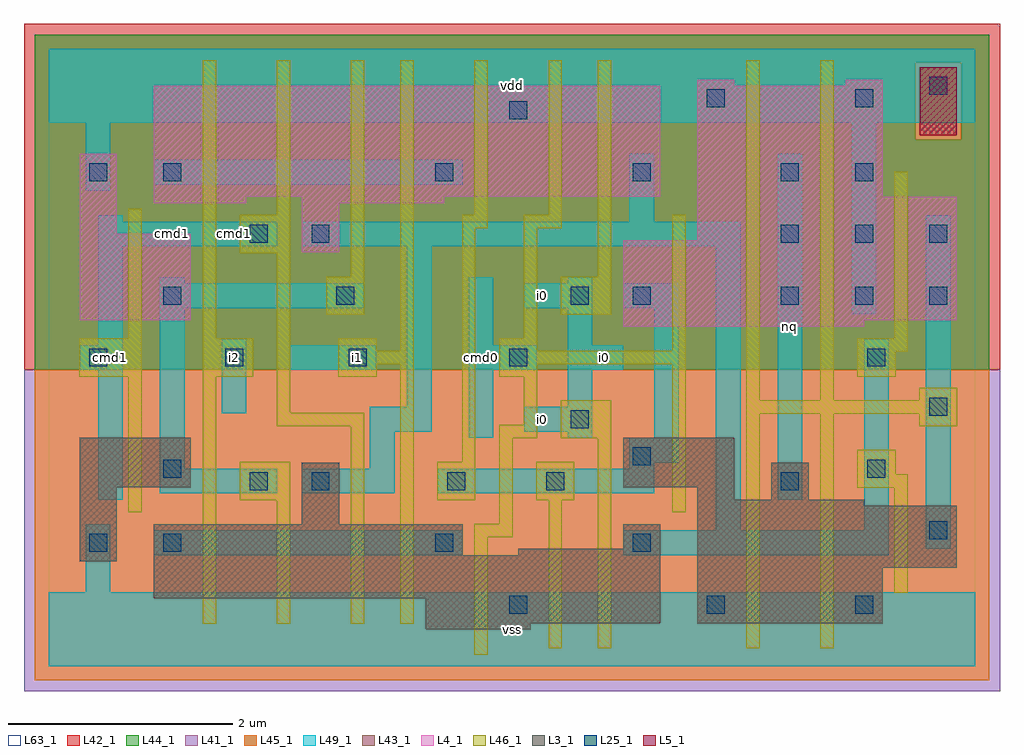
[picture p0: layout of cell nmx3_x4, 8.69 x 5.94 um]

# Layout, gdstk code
import gdstk
lib = gdstk.Library(unit=1e-6, precision=1e-09)
def R(c, l, rs):  # rectangles x0, y0, x1, y1
    for r in rs: c.add(gdstk.rectangle(r[:2], r[2:], *l))
def A(c, l, x, y, w, h, nx, ny, dx, dy):  # array of equal rectangles
    R(c, l, [(x+i*dx, y+j*dy, x+i*dx+w, y+j*dy+h) for i in range(nx) for j in range(ny)])
L3_1 = (3, 1)
L4_1 = (4, 1)
L5_1 = (5, 1)
L25_1 = (25, 1)
L41_1 = (41, 1)
L42_1 = (42, 1)
L43_1 = (43, 1)
L44_1 = (44, 1)
L45_1 = (45, 1)
L46_1 = (46, 1)
L49_1 = (49, 1)
L63_1 = (63, 1)

nmx3_x4 = lib.new_cell('nmx3_x4')
R(nmx3_x4, L3_1, [(3.355,0.33,4.29,0.385), (3.355,0.385,5.445,0.605), (5.775,0.385,7.425,0.88), (0.935,0.605,5.445,0.99), (5.775,0.88,8.085,1.43), (0.275,0.935,0.605,1.595), (0.935,0.99,3.685,1.265), (4.18,0.99,5.445,1.045), (5.115,1.045,5.445,1.265), (2.255,1.265,2.585,1.815), (5.775,1.43,7.26,1.485), (5.775,1.485,6.105,1.595), (6.435,1.485,6.765,1.815), (0.275,1.595,1.265,2.035), (5.115,1.595,6.105,2.035)])
R(nmx3_x4, L4_1, [(5.115,3.025,7.26,3.08), (0.275,3.08,1.265,3.85), (5.115,3.08,8.085,3.795), (2.255,3.685,2.585,4.125), (5.775,3.795,8.085,4.18), (0.275,3.85,0.605,4.565), (0.935,4.125,1.76,4.18), (2.255,4.125,3.52,4.18), (0.935,4.18,5.445,5.17), (5.775,4.18,7.425,5.17), (5.775,5.17,6.105,5.225), (7.095,5.17,7.425,5.225)])
R(nmx3_x4, L5_1, [(7.755,4.73,8.085,5.335)])
A(nmx3_x4, L25_1, 4.1, 0.47, 0.16, 0.16, 1, 3, 0, 2.2)
A(nmx3_x4, L25_1, 0.36, 1.02, 0.16, 0.16, 1, 3, 0, 1.65)
A(nmx3_x4, L25_1, 6.52, 3.22, 0.16, 0.16, 3, 2, 0.66, 0.55)
R(nmx3_x4, L25_1, [(5.86,0.47,6.02,0.63), (7.18,0.47,7.34,0.63), (1.02,1.02,1.18,1.18), (3.44,1.02,3.6,1.18), (5.2,1.02,5.36,1.18), (7.84,1.13,8,1.29), (1.79,1.57,1.95,1.73), (2.34,1.57,2.5,1.73), (3.55,1.57,3.71,1.73), (4.43,1.57,4.59,1.73), (6.52,1.57,6.68,1.73), (1.02,1.68,1.18,1.84), (7.29,1.68,7.45,1.84), (5.2,1.79,5.36,1.95), (4.65,2.12,4.81,2.28), (7.84,2.23,8,2.39), (1.57,2.67,1.73,2.83), (2.67,2.67,2.83,2.83), (7.29,2.67,7.45,2.83), (1.02,3.22,1.18,3.38), (2.56,3.22,2.72,3.38), (4.65,3.22,4.81,3.38), (5.2,3.22,5.36,3.38), (1.79,3.77,1.95,3.93), (2.34,3.77,2.5,3.93), (1.02,4.32,1.18,4.48), (3.44,4.32,3.6,4.48), (5.2,4.32,5.36,4.48), (6.52,4.32,6.68,4.48), (7.18,4.32,7.34,4.48), (5.86,4.98,6.02,5.14), (7.18,4.98,7.34,5.14), (7.84,5.09,8,5.25)])
R(nmx3_x4, L41_1, [(-0.22,-0.22,8.47,2.64)])
R(nmx3_x4, L42_1, [(-0.22,2.64,8.47,5.72)])
R(nmx3_x4, L43_1, [(3.355,0.33,4.29,0.385), (3.355,0.385,5.445,0.605), (5.775,0.385,7.425,0.88), (0.935,0.605,5.445,0.99), (5.775,0.88,8.085,1.43), (0.275,0.935,0.605,1.595), (0.935,0.99,3.685,1.265), (4.18,0.99,5.445,1.045), (5.115,1.045,5.445,1.265), (2.255,1.265,2.585,1.815), (5.775,1.43,7.26,1.485), (5.775,1.485,6.105,1.595), (6.435,1.485,6.765,1.815), (0.275,1.595,1.265,2.035), (5.115,1.595,6.105,2.035), (5.115,3.025,7.26,3.08), (0.275,3.08,1.265,3.85), (5.115,3.08,8.085,3.795), (2.255,3.685,2.585,4.125), (5.775,3.795,8.085,4.18), (0.275,3.85,0.605,4.565), (0.935,4.125,1.76,4.18), (2.255,4.125,3.52,4.18), (0.935,4.18,5.445,5.17), (5.775,4.18,7.425,5.17), (7.755,4.73,8.085,5.335), (5.775,5.17,6.105,5.225), (7.095,5.17,7.425,5.225)])
R(nmx3_x4, L44_1, [(-0.125,2.64,8.375,4.69), (-0.125,4.69,7.715,5.375), (8.125,4.69,8.375,5.375), (-0.125,5.375,8.375,5.625)])
R(nmx3_x4, L45_1, [(-0.125,-0.125,8.375,2.64), (7.715,4.69,8.125,5.375)])
R(nmx3_x4, L46_1, [(3.79,0.105,3.91,1.15), (4.45,0.16,4.57,1.48), (4.89,0.16,5.01,2.03), (6.21,0.16,6.33,2.25), (6.87,0.16,6.99,2.25), (1.37,0.38,1.49,2.58), (2.03,0.38,2.15,1.48), (2.69,0.38,2.81,2.14), (3.13,0.38,3.25,2.69), (7.53,0.655,7.65,1.59), (3.79,1.15,4.13,1.27), (4.01,1.27,4.13,2.03), (0.71,1.37,0.83,2.58), (5.55,1.37,5.67,2.69), (1.7,1.48,2.15,1.82), (3.46,1.48,3.8,1.82), (4.34,1.48,4.68,1.82), (7.2,1.59,7.65,1.71), (7.2,1.71,7.54,1.93), (3.68,1.82,3.8,3.9), (4.01,2.03,4.35,2.15), (4.56,2.03,5.01,2.37), (2.03,2.14,2.81,2.26), (7.75,2.14,8.09,2.25), (4.23,2.15,4.35,2.58), (6.21,2.25,8.09,2.37), (2.03,2.26,2.15,3.68), (6.21,2.37,6.33,5.395), (6.87,2.37,6.99,5.395), (7.75,2.37,8.09,2.48), (0.27,2.58,0.83,2.92), (1.37,2.58,1.82,2.92), (2.58,2.58,2.92,2.69), (4.01,2.58,4.35,2.69), (7.2,2.58,7.54,2.8), (2.58,2.69,3.25,2.81), (4.01,2.69,5.67,2.81), (7.2,2.8,7.65,2.92), (2.58,2.81,2.92,2.92), (3.13,2.81,3.25,5.395), (4.01,2.81,4.35,2.92), (5.55,2.81,5.67,4.02), (0.71,2.92,0.83,4.075), (1.37,2.92,1.49,5.395), (4.23,2.92,4.35,3.9), (7.53,2.92,7.65,4.405), (2.47,3.13,2.81,3.47), (4.56,3.13,5.01,3.47), (2.69,3.47,2.81,5.395), (4.89,3.47,5.01,5.395), (1.7,3.68,2.15,4.02), (3.68,3.9,3.91,4.02), (4.23,3.9,4.57,4.02), (2.03,4.02,2.15,5.395), (3.79,4.02,3.91,5.395), (4.45,4.02,4.57,5.395)])
R(nmx3_x4, L49_1, [(0,0,8.25,0.66), (0.33,0.66,0.55,1.265), (0.935,0.99,3.685,1.21), (5.115,0.99,7.48,1.21), (7.81,1.045,8.03,4.015), (5.94,1.21,6.16,3.74), (7.26,1.21,7.48,2.915), (0.44,1.485,0.66,2.64), (6.49,1.485,6.71,4.565), (0.99,1.54,2.035,1.76), (2.255,1.54,3.08,1.76), (3.465,1.54,5.39,1.76), (0.99,1.76,1.21,3.19), (2.86,1.76,3.08,2.09), (5.17,1.76,5.39,1.815), (5.17,1.815,5.61,2.035), (3.74,2.035,3.96,2.64), (4.62,2.035,4.84,2.09), (5.39,2.035,5.61,3.19), (2.86,2.09,3.41,2.31), (4.235,2.09,4.84,2.31), (1.54,2.255,1.76,2.915), (3.19,2.31,3.41,3.74), (4.62,2.31,4.84,2.64), (0.275,2.64,0.66,2.86), (2.145,2.64,2.915,2.86), (3.74,2.64,4.345,2.86), (4.62,2.64,5.115,2.86), (0.44,2.86,0.66,3.74), (3.74,2.86,3.96,3.465), (4.62,2.86,4.84,3.19), (7.15,3.135,7.37,4.84), (0.99,3.19,2.805,3.41), (4.235,3.19,4.84,3.41), (5.115,3.19,5.61,3.41), (0.99,3.41,1.21,3.465), (4.62,3.41,4.84,3.465), (0.44,3.74,2.035,3.96), (2.255,3.74,6.16,3.96), (0.44,3.96,0.66,4.015), (5.17,3.96,5.39,4.565), (0.33,4.235,0.55,4.84), (0.935,4.29,3.685,4.51), (0,4.84,8.25,5.5)])
R(nmx3_x4, L63_1, [(0,0,8.25,5.5)])
nmx3_x4.add(gdstk.Label('cmd1', (0.55,2.75), layer=49, texttype=1))
nmx3_x4.add(gdstk.Label('cmd1', (1.1,3.85), layer=49, texttype=1))
nmx3_x4.add(gdstk.Label('i2', (1.65,2.75), layer=49, texttype=1))
nmx3_x4.add(gdstk.Label('i1', (2.75,2.75), layer=49, texttype=1))
nmx3_x4.add(gdstk.Label('cmd1', (1.65,3.85), layer=49, texttype=1))
nmx3_x4.add(gdstk.Label('vss', (4.125,0.33), layer=49, texttype=1))
nmx3_x4.add(gdstk.Label('i0', (4.4,2.2), layer=49, texttype=1))
nmx3_x4.add(gdstk.Label('cmd0', (3.85,2.75), layer=49, texttype=1))
nmx3_x4.add(gdstk.Label('i0', (4.4,3.3), layer=49, texttype=1))
nmx3_x4.add(gdstk.Label('vdd', (4.125,5.17), layer=49, texttype=1))
nmx3_x4.add(gdstk.Label('i0', (4.95,2.75), layer=49, texttype=1))
nmx3_x4.add(gdstk.Label('nq', (6.6,3.025), layer=49, texttype=1))

lib.write_gds('nmx3_x4.gds')
